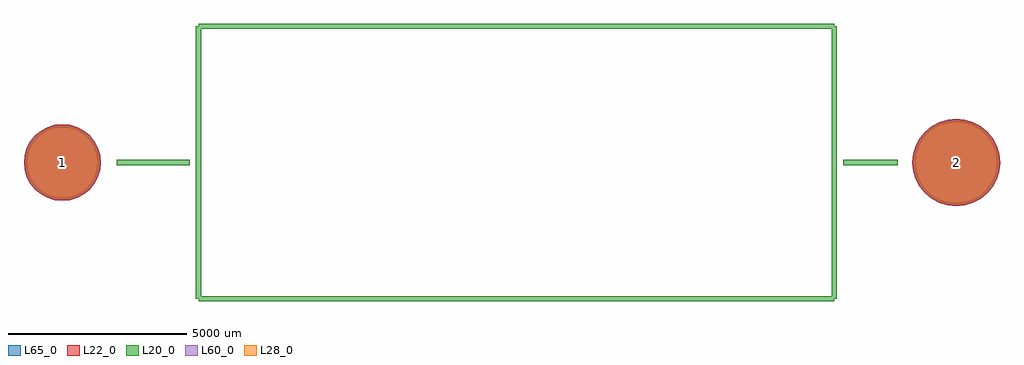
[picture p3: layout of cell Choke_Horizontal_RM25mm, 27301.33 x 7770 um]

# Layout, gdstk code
import gdstk
lib = gdstk.Library(unit=1e-6, precision=1e-09)
def P(c, l, *ps):  # polygons
    for p in ps: c.add(gdstk.Polygon(p, *l))
L20_0 = (20, 0)
L22_0 = (22, 0)
L28_0 = (28, 0)
L60_0 = (60, 0)
L65_0 = (65, 0)

choke_horizontal_rm25mm = lib.new_cell('Choke_Horizontal_RM25mm')
P(choke_horizontal_rm25mm, L22_0, [(13727.5,0),(13703.95,239.107),(13634.205,469.024),(13520.946,680.918),(13368.524,866.644),(13182.798,1019.066),(12970.904,1132.325),(12740.987,1202.07),(12501.88,1225.62),(12262.773,1202.07),(12032.856,1132.325),(11820.962,1019.066),(11635.236,866.644),(11482.814,680.918),(11369.555,469.024),(11299.81,239.107),(11276.26,0),(11299.81,-239.107),(11369.555,-469.024),(11482.814,-680.918),(11635.236,-866.644),(11820.962,-1019.066),(12032.856,-1132.325),(12262.773,-1202.07),(12501.88,-1225.62),(12740.987,-1202.07),(12970.904,-1132.325),(13182.798,-1019.066),(13368.524,-866.644),(13520.946,-680.918),(13634.205,-469.024),(13703.95,-239.107)],
  [(-11424.85,0),(-11445.496,209.623),(-11506.641,411.19),(-11605.934,596.955),(-11739.561,759.779),(-11902.385,893.406),(-12088.15,992.699),(-12289.717,1053.844),(-12499.34,1074.49),(-12708.963,1053.844),(-12910.53,992.699),(-13096.295,893.406),(-13259.119,759.779),(-13392.746,596.955),(-13492.039,411.19),(-13553.184,209.623),(-13573.83,0),(-13553.184,-209.623),(-13492.039,-411.19),(-13392.746,-596.955),(-13259.119,-759.779),(-13096.295,-893.406),(-12910.53,-992.699),(-12708.963,-1053.844),(-12499.34,-1074.49),(-12289.717,-1053.844),(-12088.15,-992.699),(-11902.385,-893.406),(-11739.561,-759.779),(-11605.934,-596.955),(-11506.641,-411.19),(-11445.496,-209.623)])
P(choke_horizontal_rm25mm, L28_0, [(13652.5,0),(13630.391,224.475),(13564.914,440.323),(13458.586,639.25),(13315.491,813.611),(13141.13,956.706),(12942.203,1063.034),(12726.355,1128.511),(12501.88,1150.62),(12277.405,1128.511),(12061.557,1063.034),(11862.63,956.706),(11688.269,813.611),(11545.174,639.25),(11438.846,440.323),(11373.369,224.475),(11351.26,0),(11373.369,-224.475),(11438.846,-440.323),(11545.174,-639.25),(11688.269,-813.611),(11862.63,-956.706),(12061.557,-1063.034),(12277.405,-1128.511),(12501.88,-1150.62),(12726.355,-1128.511),(12942.203,-1063.034),(13141.13,-956.706),(13315.491,-813.611),(13458.586,-639.25),(13564.914,-440.323),(13630.391,-224.475)],
  [(-11499.85,0),(-11519.055,194.991),(-11575.932,382.488),(-11668.294,555.287),(-11792.594,706.746),(-11944.053,831.046),(-12116.852,923.408),(-12304.349,980.285),(-12499.34,999.49),(-12694.331,980.285),(-12881.828,923.408),(-13054.627,831.046),(-13206.086,706.746),(-13330.386,555.287),(-13422.748,382.488),(-13479.625,194.991),(-13498.83,0),(-13479.625,-194.991),(-13422.748,-382.488),(-13330.386,-555.287),(-13206.086,-706.746),(-13054.627,-831.046),(-12881.828,-923.408),(-12694.331,-980.285),(-12499.34,-999.49),(-12304.349,-980.285),(-12116.852,-923.408),(-11944.053,-831.046),(-11792.594,-706.746),(-11668.294,-555.287),(-11575.932,-382.488),(-11519.055,-194.991)])
P(choke_horizontal_rm25mm, L60_0, [(13652.5,0),(13630.391,224.475),(13564.914,440.323),(13458.586,639.25),(13315.491,813.611),(13141.13,956.706),(12942.203,1063.034),(12726.355,1128.511),(12501.88,1150.62),(12277.405,1128.511),(12061.557,1063.034),(11862.63,956.706),(11688.269,813.611),(11545.174,639.25),(11438.846,440.323),(11373.369,224.475),(11351.26,0),(11373.369,-224.475),(11438.846,-440.323),(11545.174,-639.25),(11688.269,-813.611),(11862.63,-956.706),(12061.557,-1063.034),(12277.405,-1128.511),(12501.88,-1150.62),(12726.355,-1128.511),(12942.203,-1063.034),(13141.13,-956.706),(13315.491,-813.611),(13458.586,-639.25),(13564.914,-440.323),(13630.391,-224.475)],
  [(-11499.85,0),(-11519.055,194.991),(-11575.932,382.488),(-11668.294,555.287),(-11792.594,706.746),(-11944.053,831.046),(-12116.852,923.408),(-12304.349,980.285),(-12499.34,999.49),(-12694.331,980.285),(-12881.828,923.408),(-13054.627,831.046),(-13206.086,706.746),(-13330.386,555.287),(-13422.748,382.488),(-13479.625,194.991),(-13498.83,0),(-13479.625,-194.991),(-13422.748,-382.488),(-13330.386,-555.287),(-13206.086,-706.746),(-13054.627,-831.046),(-12881.828,-923.408),(-12694.331,-980.285),(-12499.34,-999.49),(-12304.349,-980.285),(-12116.852,-923.408),(-11944.053,-831.046),(-11792.594,-706.746),(-11668.294,-555.287),(-11575.932,-382.488),(-11519.055,-194.991)])
P(choke_horizontal_rm25mm, L65_0, [(13727.5,0),(13703.95,239.107),(13634.205,469.024),(13520.946,680.918),(13368.524,866.644),(13182.798,1019.066),(12970.904,1132.325),(12740.987,1202.07),(12501.88,1225.62),(12262.773,1202.07),(12032.856,1132.325),(11820.962,1019.066),(11635.236,866.644),(11482.814,680.918),(11369.555,469.024),(11299.81,239.107),(11276.26,0),(11299.81,-239.107),(11369.555,-469.024),(11482.814,-680.918),(11635.236,-866.644),(11820.962,-1019.066),(12032.856,-1132.325),(12262.773,-1202.07),(12501.88,-1225.62),(12740.987,-1202.07),(12970.904,-1132.325),(13182.798,-1019.066),(13368.524,-866.644),(13520.946,-680.918),(13634.205,-469.024),(13703.95,-239.107)],
  [(-11424.85,0),(-11445.496,209.623),(-11506.641,411.19),(-11605.934,596.955),(-11739.561,759.779),(-11902.385,893.406),(-12088.15,992.699),(-12289.717,1053.844),(-12499.34,1074.49),(-12708.963,1053.844),(-12910.53,992.699),(-13096.295,893.406),(-13259.119,759.779),(-13392.746,596.955),(-13492.039,411.19),(-13553.184,209.623),(-13573.83,0),(-13553.184,-209.623),(-13492.039,-411.19),(-13392.746,-596.955),(-13259.119,-759.779),(-13096.295,-893.406),(-12910.53,-992.699),(-12708.963,-1053.844),(-12499.34,-1074.49),(-12289.717,-1053.844),(-12088.15,-992.699),(-11902.385,-893.406),(-11739.561,-759.779),(-11605.934,-596.955),(-11506.641,-411.19),(-11445.496,-209.623)])
choke_horizontal_rm25mm.add(gdstk.FlexPath([(9090.66,3810),(-8689.34,3810)], 149.998, ends="flush", simple_path=True, layer=20, datatype=0))  # L20_0
choke_horizontal_rm25mm.add(gdstk.FlexPath([(9090.66,-3810),(9090.66,3810)], 149.998, ends="flush", simple_path=True, layer=20, datatype=0))  # L20_0
choke_horizontal_rm25mm.add(gdstk.FlexPath([(-8689.34,-3810),(9090.66,-3810)], 149.998, ends="flush", simple_path=True, layer=20, datatype=0))  # L20_0
choke_horizontal_rm25mm.add(gdstk.FlexPath([(-8689.34,3810),(-8689.34,-3810)], 149.998, ends="flush", simple_path=True, layer=20, datatype=0))  # L20_0
choke_horizontal_rm25mm.add(gdstk.FlexPath([(9344.66,0),(10868.66,0)], 149.998, ends="flush", simple_path=True, layer=20, datatype=0))  # L20_0
choke_horizontal_rm25mm.add(gdstk.FlexPath([(-8943.34,0),(-10975.34,0)], 149.998, ends="flush", simple_path=True, layer=20, datatype=0))  # L20_0
choke_horizontal_rm25mm.add(gdstk.Label('2', (12501.88,0), layer=28, texttype=0))
choke_horizontal_rm25mm.add(gdstk.Label('1', (-12499.34,0), layer=28, texttype=0))
choke_horizontal_rm25mm.add(gdstk.Label('type', (0,-5499.1), layer=9, texttype=0))
choke_horizontal_rm25mm.add(gdstk.Label('devicename', (12700,6350), layer=9, texttype=0))

lib.write_gds('Choke_Horizontal_RM25mm.gds')
